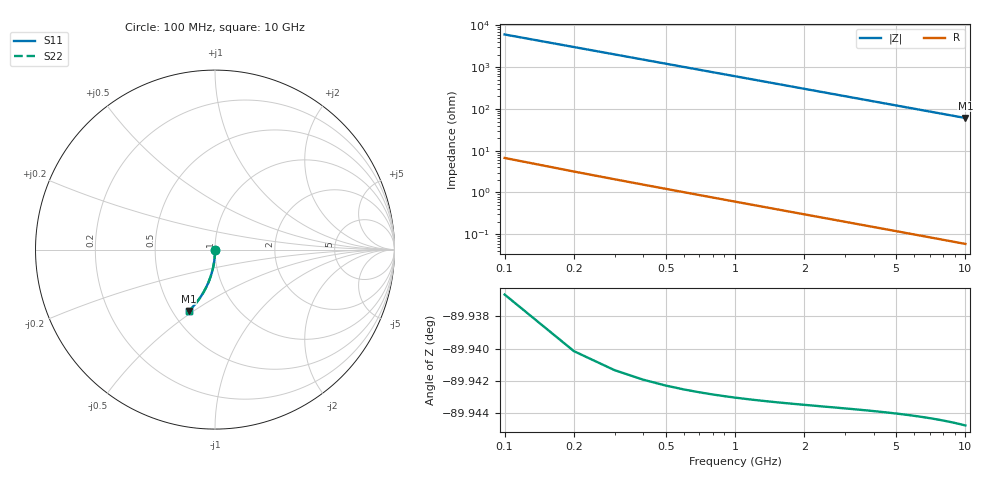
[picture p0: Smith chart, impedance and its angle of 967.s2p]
# Hz S RI R 50.00
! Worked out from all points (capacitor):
!   100 points, 100 MHz to 10 GHz, reference 50 ohm
!   read as one part in shunt: C = 262 fF near 100 MHz
!   lowest |Z| = 60.8 ohm at 10 GHz (marker M1)
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1e8  3.69e-05 -0.00401  0.9999 -0.00422  0.9999 -0.00422  3.69e-05 -0.00401
2e8  -1.75e-05 -0.00801  0.9999 -0.00844  0.9999 -0.00844  -1.75e-05 -0.00801
3e8  -0.000106 -0.012  0.9998 -0.0127  0.9998 -0.0127  -0.000106 -0.012
4e8  -0.000228 -0.016  0.9997 -0.0169  0.9997 -0.0169  -0.000228 -0.016
5e8  -0.000384 -0.02  0.9995 -0.0211  0.9995 -0.0211  -0.000384 -0.02
6e8  -0.000573 -0.024  0.9993 -0.0253  0.9993 -0.0253  -0.000573 -0.024
7e8  -0.000797 -0.028  0.9991 -0.0295  0.9991 -0.0295  -0.000797 -0.028
8e8  -0.00105 -0.032  0.9988 -0.0337  0.9988 -0.0337  -0.00105 -0.032
9e8  -0.00134 -0.036  0.9985 -0.0379  0.9985 -0.0379  -0.00134 -0.036
1.1e9  -0.00203 -0.044  0.9978 -0.0463  0.9978 -0.0463  -0.00203 -0.044
1.4e9  -0.0033 -0.0559  0.9966 -0.0589  0.9966 -0.0589  -0.0033 -0.0559
1.8e9  -0.00546 -0.0717  0.9944 -0.0756  0.9944 -0.0756  -0.00546 -0.0717
2.1e9  -0.00743 -0.0835  0.9924 -0.088  0.9924 -0.088  -0.00743 -0.0835
2.5e9  -0.0105 -0.0991  0.9894 -0.1045  0.9894 -0.1045  -0.0105 -0.0991
2.9e9  -0.0141 -0.1145  0.9858 -0.1208  0.9858 -0.1208  -0.0141 -0.1145
3.4e9  -0.0193 -0.1336  0.9806 -0.1409  0.9806 -0.1409  -0.0193 -0.1336
4.2e9  -0.0291 -0.1633  0.9707 -0.1724  0.9707 -0.1724  -0.0291 -0.1633
5.1e9  -0.0424 -0.1956  0.9574 -0.2067  0.9574 -0.2067  -0.0424 -0.1956
5.9e9  -0.0559 -0.2231  0.9439 -0.2359  0.9439 -0.2359  -0.0559 -0.2231
6.7e9  -0.071 -0.2493  0.9288 -0.2638  0.9288 -0.2638  -0.071 -0.2493
8.4e9  -0.1074 -0.3001  0.8923 -0.3184  0.8923 -0.3184  -0.1074 -0.3001
1e10  -0.1458 -0.3417  0.8538 -0.3635  0.8538 -0.3635  -0.1458 -0.3417
